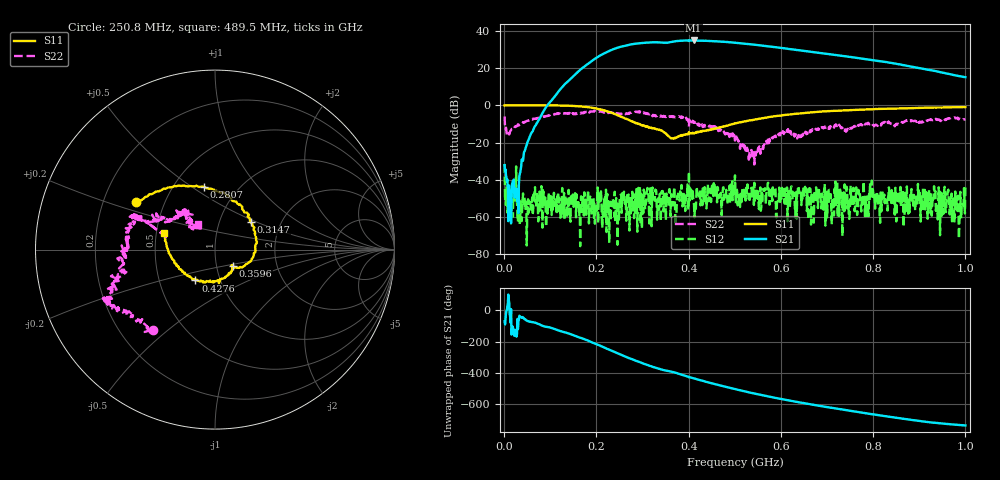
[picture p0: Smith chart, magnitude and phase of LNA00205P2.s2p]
! Created with skrf 1.9.0 (http://scikit-rf.org).
# Hz S RI R 50.0
!freq ReS11 ImS11 ReS21 ImS21 ReS12 ImS12 ReS22 ImS22
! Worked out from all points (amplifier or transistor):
!   1001 points, 1 MHz to 1 GHz, reference 50 ohm
!   highest |S21| = 34.8 dB at 410.6 MHz (marker M1)
!   |S21| within 3 dB of that: 259.3 MHz to 568.2 MHz (308.9 MHz wide, 74.7 % of centre)
!   unconditionally stable (mu >= 1): start of sweep to 107.1 MHz; 294.8 MHz to 400.5 MHz; 500.5 MHz to end of sweep (the widest 3 of 24)
!   at 166.8 MHz: K = 1.44, MAG = 30.2 dB, |S12| = -48.9 dB
!   at 500.5 MHz: K = 0.99, MSG = 35.6 dB, |S12| = -37.7 dB
!   at 1 GHz: K = 1.99, MAG = 23.8 dB, |S12| = -43.8 dB
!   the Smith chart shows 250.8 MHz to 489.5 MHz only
!   S11 on the Smith chart (normalised r, x): 250.8 MHz: 0.34, +0.25; 280.7 MHz: 0.70, +0.56; 314.7 MHz: 1.41, +0.46; 359.6 MHz: 1.20, -0.22; 427.6 MHz: 0.76, -0.27; 489.5 MHz: 0.55, +0.12
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1000000  0.9879 0.00611  0.00853 -0.0233  -0.021 0.0163  0.3656 0.339
1.08892e8  0.5027 -0.8534  -0.8041 -1.477  -0.00248 -0.00247  0.421 -0.3817
1.67833e8  -0.2644 -0.8861  -9.633 -0.4272  0.00124 0.000992  0.0302 -0.6328
2.12788e8  -0.6937 -0.2924  -14.45 18.2  0.00021 -0.000458  -0.2022 -0.6239
2.29771e8  -0.6485 -0.00406  -8.287 28.22  0.00235 0.00106  -0.2507 -0.5892
2.5075e8  -0.4383 0.2653  6.57 35.86  -0.00245 0.00188  -0.344 -0.45
2.8072e8  -0.0616 0.3512  31.65 30.78  0.00108 0.004  -0.5816 -0.314
3.14686e8  0.1998 0.1532  48.02 5.579  -0.000473 0.000474  -0.5363 -0.1745
3.34666e8  0.224 -0.0152  47.64 -10.26  -0.000686 0.00163  -0.5181 -0.0499
3.59641e8  0.1001 -0.0912  42.83 -23.96  -0.000731 0.0041  -0.4947 0.0754
3.79621e8  0.0933 -0.1162  37.35 -38.47  0.00215 0.00354  -0.4555 0.184
4.1059e8  -0.0219 -0.1793  15.46 -52.67  0.0014 0.00202  -0.3239 0.1619
4.27573e8  -0.1093 -0.1721  2.468 -54.01  0.00182 0.00438  -0.2064 0.1746
4.55545e8  -0.2212 -0.0787  -17.81 -49.27  0.00404 0.00297  -0.1574 0.2018
4.89511e8  -0.2817 0.0951  -34.61 -34.74  0.00223 0.000267  -0.0971 0.141
5.005e8  -0.2889 0.1616  -38.02 -29.12  0.012 0.00526  -0.0801 0.0793
5.36464e8  -0.2035 0.3399  -41.85 -9.67  0.00354 -0.00474  -0.0309 0.0548
5.84416e8  0.00453 0.5043  -35.42 10.31  0.000888 -0.00395  -0.1339 -0.0482
6.67333e8  0.41 0.5016  -12.94 23.51  -0.00186 -0.00344  -0.205 -0.0454
7.53247e8  0.6862 0.2834  4.099 19.09  -0.000566 -0.00347  -0.238 -0.008
8.34166e8  0.8051 0.0209  10.5 9.306  0.0018 0.00598  -0.3314 -0.0182
1e9  0.7321 -0.5162  5.5 -1.402  -0.00641 0.000557  -0.3581 0.2179
